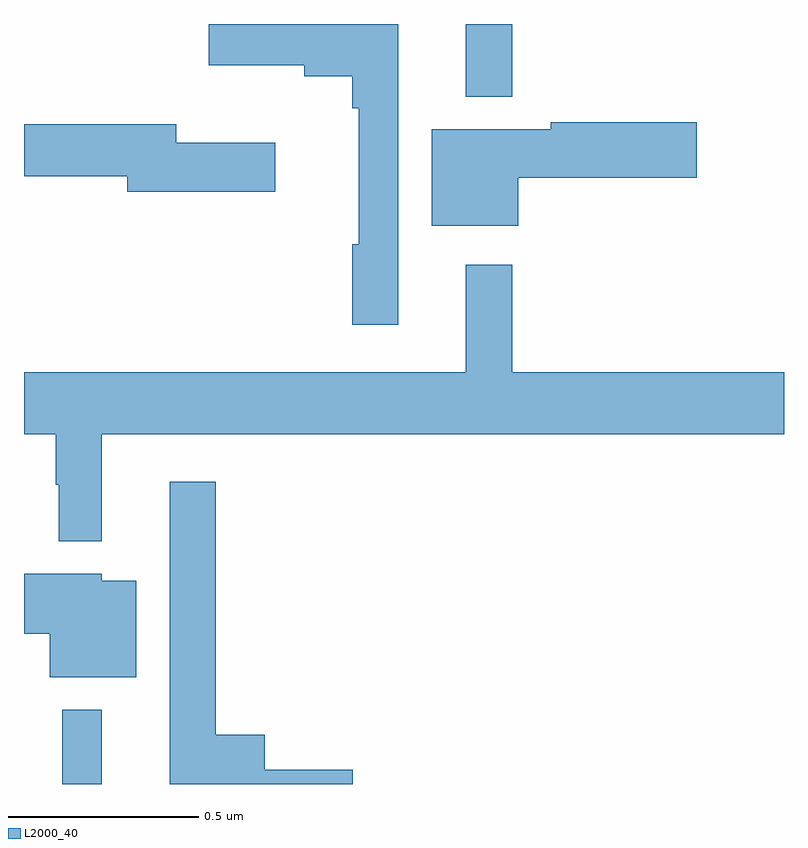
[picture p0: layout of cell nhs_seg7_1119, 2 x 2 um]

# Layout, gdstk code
import gdstk
lib = gdstk.Library(unit=1e-6, precision=1e-09)
def R(c, l, rs):  # rectangles x0, y0, x1, y1
    for r in rs: c.add(gdstk.rectangle(r[:2], r[2:], *l))
def P(c, l, *ps):  # polygons
    for p in ps: c.add(gdstk.Polygon(p, *l))
L2000_40 = (2000, 40)

nhs_seg7_1119 = lib.new_cell('nhs_seg7_1119')
R(nhs_seg7_1119, L2000_40, [(126.101,1029,126.205,1029.196), (127.163,1030.808,127.285,1031)])
P(nhs_seg7_1119, L2000_40, [(126.985,1031),(126.486,1031),(126.486,1030.892),(126.738,1030.892),(126.738,1030.862),(126.864,1030.862),(126.864,1030.778),(126.881,1030.778),(126.881,1030.421),(126.864,1030.421),(126.864,1030.209),(126.985,1030.209)],
  [(127.3,1030.595),(127.771,1030.595),(127.771,1030.742),(127.386,1030.742),(127.386,1030.723),(127.073,1030.723),(127.073,1030.469),(127.3,1030.469)],
  [(126.661,1030.687),(126.4,1030.687),(126.4,1030.736),(126,1030.736),(126,1030.6),(126.272,1030.6),(126.272,1030.558),(126.661,1030.558)],
  [(127.163,1030.366),(127.163,1030.084),(126,1030.084),(126,1029.92),(126.084,1029.92),(126.084,1029.788),(126.091,1029.788),(126.091,1029.639),(126.205,1029.639),(126.205,1029.92),(128,1029.92),(128,1030.084),(127.285,1030.084),(127.285,1030.366)],
  [(126.865,1029.038),(126.634,1029.038),(126.634,1029.13),(126.505,1029.13),(126.505,1029.796),(126.383,1029.796),(126.383,1029),(126.865,1029)],
  [(126.295,1029.535),(126.204,1029.535),(126.204,1029.553),(126,1029.553),(126,1029.395),(126.068,1029.395),(126.068,1029.281),(126.295,1029.281)])

lib.write_gds('nhs_seg7_1119.gds')
